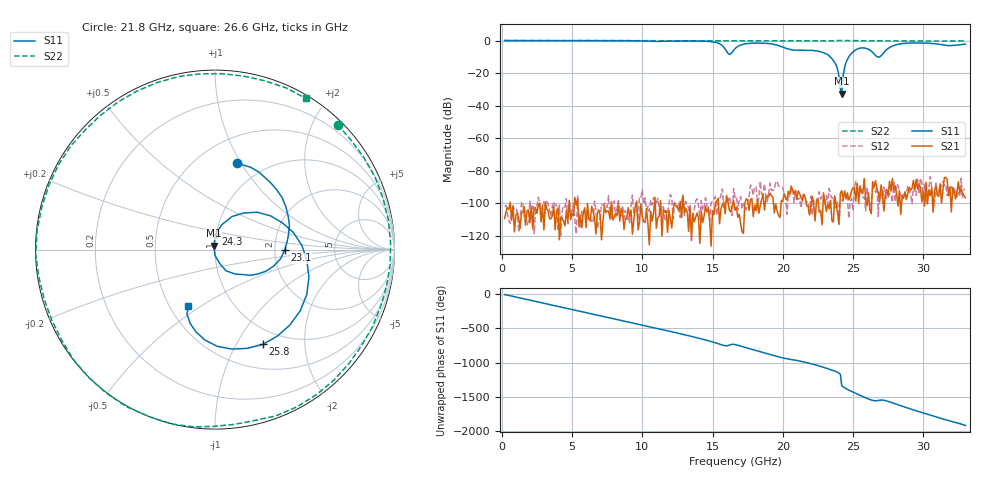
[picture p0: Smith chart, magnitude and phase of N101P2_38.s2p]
# GHZ S RI R 50
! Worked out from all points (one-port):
!   329 points, 200 MHz to 33 GHz, reference 50 ohm
!   lowest |S11| = -32.7 dB at 24.2 GHz (marker M1), VSWR 1.05, Z = 49.3 + j2.2 ohm
!   |S11| at or under -10 dB: 23.37 GHz to 24.7 GHz (1.328 GHz wide, 5.53 % of centre); 26.73 GHz to 26.9 GHz (173 MHz wide, 0.645 % of centre)
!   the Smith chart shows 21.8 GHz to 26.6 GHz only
!   S11 on the Smith chart (normalised r, x): 21.8 GHz: 0.74, +0.96; 23.1 GHz: 2.27, -0.02; 24.3 GHz: 0.99, +0.17; 25.8 GHz: 0.80, -1.29; 26.6 GHz: 0.62, -0.44
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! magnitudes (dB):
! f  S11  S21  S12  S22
! 200 MHz  0.0  -109.3  -101.8  0.0
! 5.7 GHz  0.0  -114.9  -104.7  0.0
! 11.2 GHz  -0.5  -107.9  -103.6  -0.2
! 15.2 GHz  -1.1  -100.0  -95.8  -0.1
! 16.2 GHz  -8.5  -104.1  -95.8  -0.1
! 16.6 GHz  -5.0  -104.2  -96.4  -0.1
! 18.4 GHz  -1.6  -101.2  -86.4  -0.2
! 21.8 GHz  -6.0  -101.5  -99.1  -0.2
! 22.1 GHz  -6.1  -95.6  -107.3  -0.2
! 23.1 GHz  -8.2  -104.9  -95.2  -0.1
! 23.8 GHz  -15.0  -100.7  -102.0  0.0
! 24 GHz  -21.9  -112.9  -113.5  0.0
! 24.2 GHz  -32.7  -92.2  -97.9  0.0
! 24.3 GHz  -21.3  -97.4  -98.7  0.0
! 24.5 GHz  -13.6  -97.1  -94.9  -0.1
! 24.8 GHz  -8.8  -95.8  -98.8  -0.1
! 25.8 GHz  -4.6  -84.7  -96.0  -0.1
! 26.6 GHz  -9.2  -86.0  -93.1  -0.1
! 26.9 GHz  -10.0  -98.9  -91.8  -0.2
! 27.6 GHz  -4.3  -86.4  -93.9  -0.2
! 28.9 GHz  -1.6  -94.0  -89.1  -0.2
! 33 GHz  -2.2  -96.5  -91.4  -0.2
